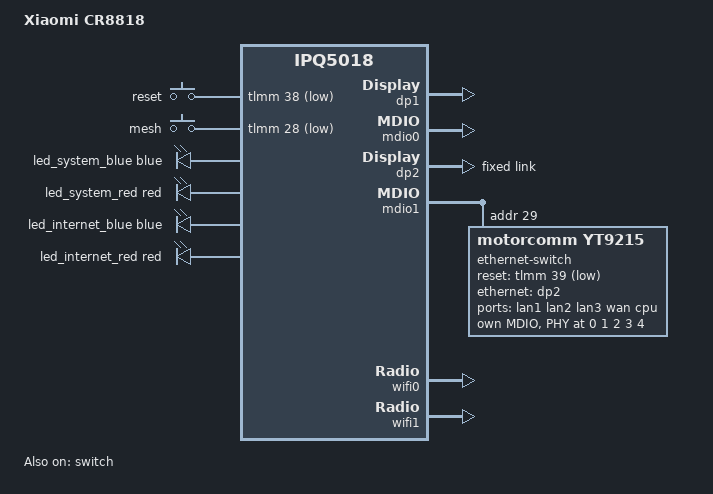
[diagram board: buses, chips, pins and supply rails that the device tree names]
/dts-v1/;

#include "ipq5018.dtsi"
#include "ipq5018-xiaomi-base.dtsi"

/ {
	model = "Xiaomi CR8818";
	compatible = "xiaomi,cr8818", "qcom,ipq5018";

	aliases {
		label-mac-device = &dp1;
		led-boot = &led_system_blue;
		led-failsafe = &led_system_red;
		led-running = &led_system_blue;
		led-upgrade = &led_system_red;
	};

	keys {
		compatible = "gpio-keys";

		pinctrl-0 = <&button_pins>;
		pinctrl-names = "default";

		reset-button {
			label = "reset";
			gpios = <&tlmm 38 GPIO_ACTIVE_LOW>;
			linux,code = <KEY_RESTART>;
		};

		mesh-button {
			label = "mesh";
			gpios = <&tlmm 28 GPIO_ACTIVE_LOW>;
			linux,code = <BTN_0>;
		};
	};

	leds {
		compatible = "gpio-leds";

		pinctrl-0 = <&leds_pins>;
		pinctrl-names = "default";

		led_system_blue: system-blue {
			color = <LED_COLOR_ID_BLUE>;
			function = LED_FUNCTION_POWER;
			gpio = <&tlmm 24 GPIO_ACTIVE_HIGH>;
		};

		led_system_red: system-red {
			color = <LED_COLOR_ID_RED>;
			function = LED_FUNCTION_POWER;
			gpio = <&tlmm 25 GPIO_ACTIVE_HIGH>;
		};

		led_internet_blue: internet-blue {
			color = <LED_COLOR_ID_BLUE>;
			function = LED_FUNCTION_WAN;
			gpio = <&tlmm 26 GPIO_ACTIVE_HIGH>;
		};

		led_internet_red: internet-red {
			color = <LED_COLOR_ID_RED>;
			function = LED_FUNCTION_WAN;
			gpio = <&tlmm 27 GPIO_ACTIVE_HIGH>;
		};
	};
};

/*
* ===============================================================
*     _______________________             _____________________
*    |        IPQ5018        |           |        YT9215       |
*    | +------+   +--------+ |           | +------+   +------+ |
*    | | MAC0 |---| GE Phy |-+--- MDI ---+ | Phy4 |---| Phy0 | |
*    | +------+   +--------+ |           | +------+   | Phy1 | |
*    | +------+   +--------+ |           | +------+   | Phy2 | |
*    | | MAC1 |---| Uniphy |-+-- SGMII+--+ | Phy8 |---| Phy3 | |
*    | +------+   +--------+ |           | +------+   +------+ |
*    |_______________________|           |_____________________|
*
* ===============================================================
*/

&switch {
	status = "okay";

	// TODO: YT9215 supports 2500base-x
	switch_mac_mode = <MAC_MODE_SGMII_CHANNEL0>;

	qcom,port_phyinfo {
		// MAC0 -> GE Phy --- YT9215 Phy4
		port@0 {
			port_id = <1>;
			mdiobus = <&mdio0>;
			phy_address = <7>;
			phy_dac = <0x10 0x10>;
		};

		// MAC1 -> Uniphy --- SGMII --- YT9215 Phy8
		port@1 {
			port_id = <2>;
			forced-speed = <1000>;
			forced-duplex = <1>;
		};
	};
};

// MAC0 -> GE Phy
&dp1 {
	status = "okay";

	nvmem-cells = <&mac_addr_dp1 0>;
	nvmem-cell-names = "mac-address";
};

&mdio0 {
	status = "okay";
};

// IPQ5018 GE Phy -> YT9215 Phy4
&ge_phy {
	qcom,dac-preset-short-cable;
};

// MAC1 ---SGMII---> YT9215 Phy8
&dp2 {
	status = "okay";

	nvmem-cells = <&mac_addr_dp2 0>;
	nvmem-cell-names = "mac-address";

	fixed-link {
		speed = <1000>;
		full-duplex;
		pause;
		asym-pause;
	};
};

&mdio1 {
	status = "okay";

	pinctrl-0 = <&mdio1_pins>;
	pinctrl-names = "default";

	// YT9215 switch
	ethernet-switch@1d {
		compatible = "motorcomm,yt9215";
		reg = <0x1d>;

		reset-gpios = <&tlmm 39 GPIO_ACTIVE_LOW>;
		reset-assert-us = <10000>;
		reset-deassert-us = <50000>;

		mdio {
			#address-cells = <1>;
			#size-cells = <0>;

			sw_phy0: phy@0 {
				reg = <0x0>;
			};

			sw_phy1: phy@1 {
				reg = <0x1>;
			};

			sw_phy2: phy@2 {
				reg = <0x2>;
			};

			sw_phy3: phy@3 {
				reg = <0x3>;
			};

			sw_phy4: phy@4 {
				reg = <0x4>;
			};
		};

		ports {
			port@0 {
				reg = <0>;
				label = "lan1";
				phy-mode = "internal";
				phy-handle = <&sw_phy0>;
			};

			port@1 {
				reg = <1>;
				label = "lan2";
				phy-mode = "internal";
				phy-handle = <&sw_phy1>;
			};

			port@2 {
				reg = <2>;
				label = "lan3";
				phy-mode = "internal";
				phy-handle = <&sw_phy2>;
			};

			port@3 {
				reg = <3>;
				label = "wan";
				phy-mode = "internal";
				phy-handle = <&sw_phy3>;
			};

			port@4 {
				reg = <4>;
				label = "cpu";
				phy-mode = "internal";
				phy-handle = <&sw_phy4>;
			};

			port@8 {
				reg = <8>;
				phy-mode = "sgmii";
				ethernet = <&dp2>;

				fixed-link {
					speed = <1000>;
					full-duplex;
					pause;
					asym-pause;
				};
			};
		};
	};
};

&tlmm {
	button_pins: button-state {
		pins = "gpio38", "gpio28";
		function = "gpio";
		drive-strength = <8>;
		bias-pull-up;
	};

	leds_pins: leds-state {
		pins = "gpio24", "gpio25", "gpio26", "gpio27";
		function = "gpio";
		drive-strength = <8>;
		bias-pull-down;
	};
};

&q6v5_wcss {
	firmware-name = "ath11k/IPQ5018/hw1.0/q6_fw.mdt",
			"ath11k/IPQ5018/hw1.0/m3_fw.mdt",
			"ath11k/QCN6122/hw1.0/m3_fw.mdt";

	// QCN6122 5G
	q6_wcss_pd2: pd-2 {
		firmware-name = "ath11k/IPQ5018/hw1.0/q6_fw.mdt";

		interrupts-extended =
			<&wcss_smp2p_in 16 IRQ_TYPE_NONE>,
			<&wcss_smp2p_in 17 IRQ_TYPE_NONE>,
			<&wcss_smp2p_in 20 IRQ_TYPE_NONE>,
			<&wcss_smp2p_in 19 IRQ_TYPE_NONE>;
		interrupt-names =
			"fatal",
			"ready",
			"spawn-ack",
			"stop-ack";

		qcom,smem-states =
			<&wcss_smp2p_out 16>,
			<&wcss_smp2p_out 17>,
			<&wcss_smp2p_out 18>;
		qcom,smem-state-names =
			"shutdown",
			"stop",
			"spawn";
	};
};

&wifi0 {
	status = "okay";

	qcom,rproc = <&q6_wcss_pd1>;
	qcom,ath11k-calibration-variant = "Xiaomi-CR8818";
	qcom,ath11k-fw-memory-mode = <1>;
	qcom,bdf-addr = <0x4c400000>;
};

&wifi1 {
	status = "okay";

	qcom,rproc = <&q6_wcss_pd2>;
	qcom,userpd-subsys-name = "q6v5_wcss_userpd2";
	qcom,ath11k-calibration-variant = "Xiaomi-CR8818";
	qcom,ath11k-fw-memory-mode = <1>;
	qcom,bdf-addr = <0x4d100000>;
	qcom,m3-dump-addr = <0x4df00000>;
};
